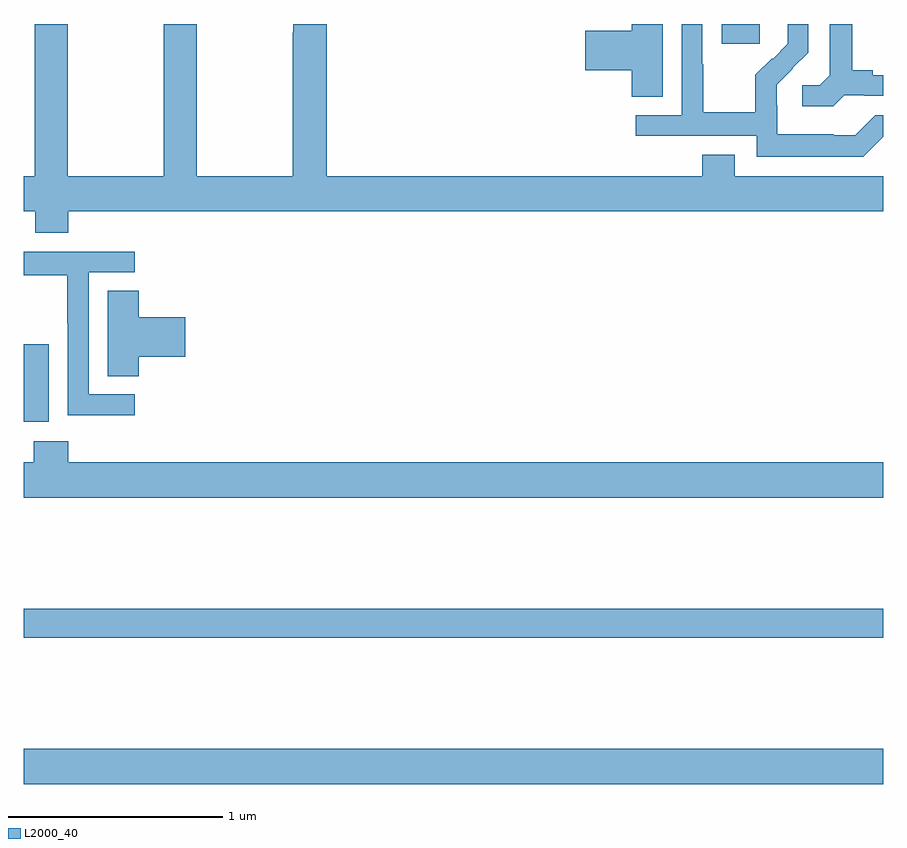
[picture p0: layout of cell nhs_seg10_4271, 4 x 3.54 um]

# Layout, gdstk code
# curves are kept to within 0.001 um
import gdstk
lib = gdstk.Library(unit=1e-6, precision=1e-09)
def R(c, l, rs):  # rectangles x0, y0, x1, y1
    for r in rs: c.add(gdstk.rectangle(r[:2], r[2:], *l))
def P(c, l, *ps):  # polygons
    for p in ps: c.add(gdstk.Polygon(p, *l))
L2000_40 = (2000, 40)

nhs_seg10_4271 = lib.new_cell('nhs_seg10_4271')
R(nhs_seg10_4271, L2000_40, [(349,1318.964,353,1319.128), (349,1319.644,353,1319.78), (349,1320.65,349.117,1321.011), (352.247,1322.409,352.426,1322.5)])
P(nhs_seg10_4271, L2000_40, [(351.973,1322.5),(351.83,1322.5),(351.83,1322.468),(351.612,1322.468),(351.612,1322.285),(351.83,1322.285),(351.83,1322.161),(351.973,1322.161)],
  [(352.818,1322.169),(352.912,1322.169),(352.912,1322.166),(353,1322.166),(353,1322.262),(352.951,1322.262),(352.951,1322.285),(352.855,1322.285),(352.855,1322.5),(352.751,1322.5),(352.751,1322.261),(352.704,1322.214),(352.623,1322.214),(352.623,1322.117),(352.766,1322.117)],
  [(349.208,1321.628),(353,1321.628),(353,1321.792),(352.309,1321.792),(352.309,1321.891),(352.157,1321.891),(352.157,1321.792),(350.411,1321.792),(350.411,1322.5),(350.255,1322.5),(350.255,1322.459),(350.251,1322.459),(350.251,1321.792),(349.806,1321.792),(349.806,1322.5),(349.651,1322.5),(349.651,1321.792),(349.206,1321.792),(349.206,1322.5),(349.051,1322.5),(349.051,1321.792),(349,1321.792),(349,1321.628),(349.055,1321.628),(349.055,1321.529),(349.208,1321.529)],
  [(353,1321.976),(353,1322.076),(352.962,1322.076),(352.869,1321.983),(352.769,1321.983),(352.769,1321.987),(352.506,1321.987),(352.506,1322.121),(352.504,1322.121),(352.504,1322.218),(352.65,1322.366),(352.65,1322.5),(352.556,1322.5),(352.556,1322.408),(352.485,1322.337),(352.482,1322.34),(352.405,1322.263),(352.405,1322.089),(352.161,1322.089),(352.161,1322.312),(352.158,1322.312),(352.158,1322.5),(352.062,1322.5),(352.062,1322.076),(351.849,1322.076),(351.849,1321.98),(352.41,1321.98),(352.41,1321.883),(352.907,1321.883)],
  [(349.516,1320.777),(349.302,1320.777),(349.302,1321.344),(349.516,1321.344),(349.516,1321.44),(349,1321.44),(349,1321.332),(349.204,1321.332),(349.204,1321.108),(349.206,1321.108),(349.206,1320.679),(349.516,1320.679)],
  [(349.535,1320.953),(349.753,1320.953),(349.753,1321.136),(349.535,1321.136),(349.535,1321.259),(349.391,1321.259),(349.391,1320.862),(349.535,1320.862)],
  [(353,1320.46),(349.208,1320.46),(349.208,1320.559),(349.048,1320.559),(349.048,1320.46),(349,1320.46),(349,1320.296),(353,1320.296)])

lib.write_gds('nhs_seg10_4271.gds')
